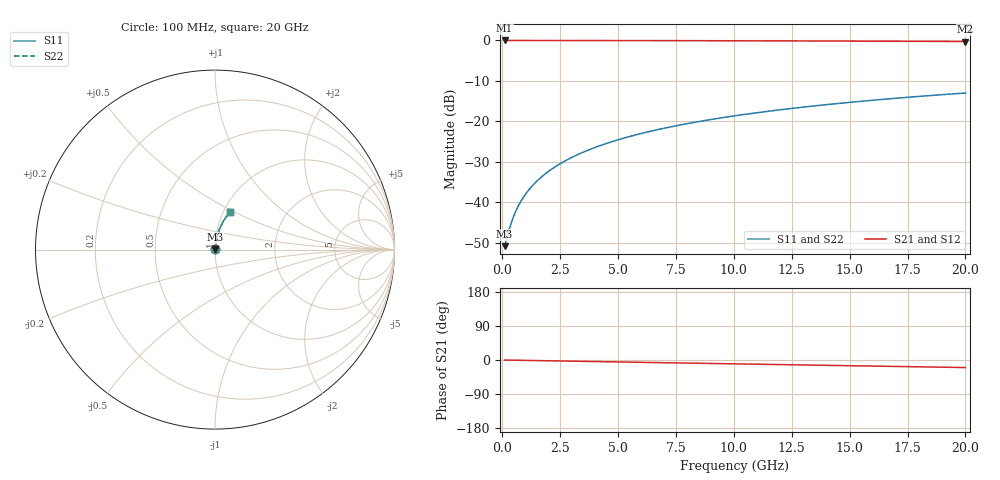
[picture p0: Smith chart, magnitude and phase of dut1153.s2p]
! Touchstone file exported from HFSS 2026.1.0
!  File:  C:/ffzhzh/LocalFiles/Ansys_Project_Files/temp_train_BSMRDL_1153_1783175667_22436.aedt
!  Generated:  10:35:40 PM Jul  4, 2026
!  Design:  BSMRDL
!  Project:  temp_train_BSMRDL_1153_1783175667_22436
! Variables:
!  h_bsmrdl = 2.4um
!  h_ox = 20um
!  h_rdl = 5um
!  h_sub = 80um
!  h_tmrdl = 5um
!  h_tsv = 80um
!  h_via = 3um
!  l_bsmrdl = 240.52um
!  l_sub = 640.52um
!  l_tmrdl = 200um
!  m_sub = 200um
!  pitch = 40.18um
!  r_tsv = 6um
!  s_tmrdl = 10um
!  w_bsmrdl = 15.44um
!  w_sub = 500um
!  w_tmrdl = 12um
!  x_tsv_center1 = 206um
!  x_tsv_center2 = 461.96um
!  x_tsv_center3 = 673.96um
!  x_tsv_center4 = 929.92um
!  x_tsv_center5 = 1141.92um
!  x_tsv_center6 = 1397.88um
# GHz S MA R 50.000000
! Terminal data exported
! Port[1] = BSM_RDL1_1_T1
! Port[2] = BSM_RDL1_1_T2
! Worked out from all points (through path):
!   200 points, 100 MHz to 20 GHz, reference 50 ohm
!   highest |S21| = -0.02 dB at 100 MHz (marker M1); lowest = -0.3 dB at 20 GHz (marker M2)
!   group delay of S21, straight-line fit = 2.77 ps
!   lowest |S11| = -50.9 dB at 100 MHz (marker M3), VSWR 1.01, Z = 50.3 + j0.127 ohm
!   |S11| at or under -10 dB: start of sweep to end of sweep
!   |S22| runs from -50.9 to -13.0 dB; largest |S21 - S12| = 3e-15
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0.1  0.002862 26.2  0.9974 -0.1  0.9974 -0.1  0.002862 26.2
! Gamma 0 0 0 0
! Port Impedance 50 0 50 0
0.3  0.00461 54.7  0.9973 -0.3  0.9973 -0.3  0.00461 54.7
0.4  0.00569 61.3  0.9973 -0.4  0.9973 -0.4  0.00569 61.3
0.5  0.00681 65.6  0.9972 -0.5  0.9972 -0.5  0.00681 65.6
0.6  0.007945 68.7  0.9972 -0.6  0.9972 -0.6  0.007945 68.7
0.7  0.009088 70.9  0.9971 -0.7  0.9971 -0.7  0.009088 70.9
0.9  0.01138 74.0  0.997 -0.9  0.997 -0.9  0.01138 74.0
1.2  0.01483 76.9  0.9969 -1.2  0.9969 -1.2  0.01483 76.9
1.4  0.01714 78.1  0.9968 -1.5  0.9968 -1.5  0.01714 78.1
1.7  0.02061 79.4  0.9966 -1.8  0.9966 -1.8  0.02061 79.4
2.2  0.02642 80.7  0.9964 -2.3  0.9964 -2.3  0.02642 80.7
2.8  0.03342 81.4  0.9961 -2.9  0.9961 -2.9  0.03342 81.4
3.5  0.0416 81.7  0.9957 -3.6  0.9957 -3.6  0.0416 81.7
4.2  0.04977 81.7  0.9953 -4.3  0.9953 -4.3  0.04977 81.7
5  0.05909 81.4  0.9946 -5.1  0.9946 -5.1  0.05909 81.4
5.9  0.06953 80.9  0.9938 -6.0  0.9938 -6.0  0.06953 80.8
6.8  0.07993 80.2  0.9929 -7.0  0.9929 -7.0  0.07993 80.2
8.3  0.09713 79.0  0.991 -8.5  0.991 -8.5  0.09713 79.0
10.1  0.1175 77.5  0.9884 -10.3  0.9884 -10.3  0.1175 77.5
13.4  0.1541 74.4  0.9827 -13.6  0.9827 -13.6  0.1541 74.4
16.7  0.1895 71.4  0.9758 -16.8  0.9758 -16.8  0.1895 71.4
20  0.2235 68.3  0.9679 -19.9  0.9679 -19.9  0.2235 68.3
